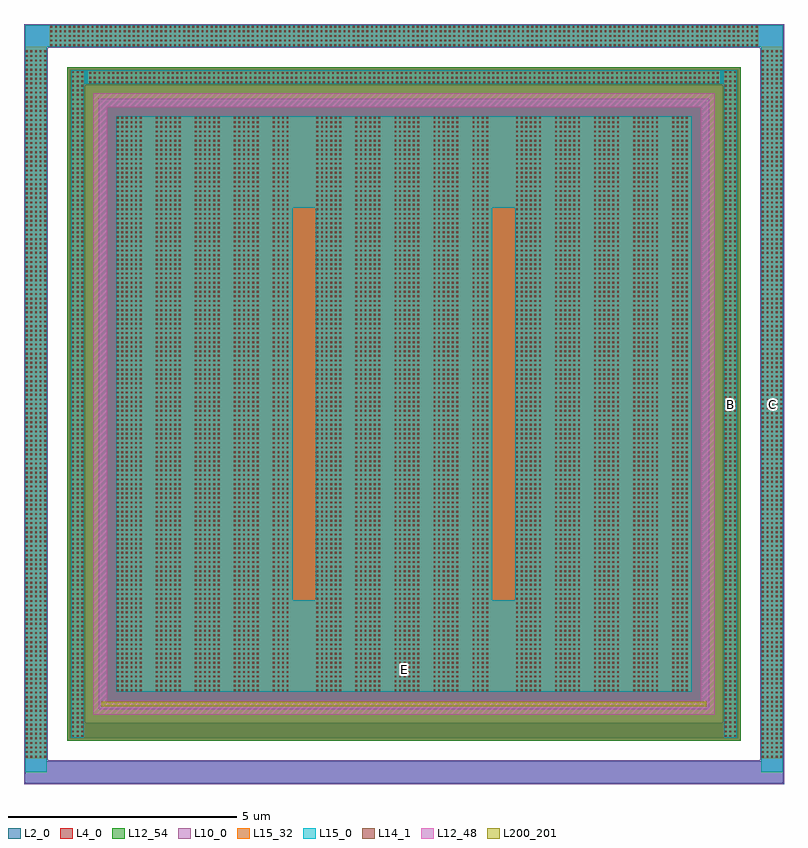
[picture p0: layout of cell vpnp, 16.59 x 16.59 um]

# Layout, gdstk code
import gdstk
lib = gdstk.Library(unit=1e-6, precision=1e-09)
def R(c, l, rs):  # rectangles x0, y0, x1, y1
    for r in rs: c.add(gdstk.rectangle(r[:2], r[2:], *l))
def A(c, l, x, y, w, h, nx, ny, dx, dy):  # array of equal rectangles
    R(c, l, [(x+i*dx, y+j*dy, x+i*dx+w, y+j*dy+h) for i in range(nx) for j in range(ny)])
L2_0 = (2, 0)
L4_0 = (4, 0)
L10_0 = (10, 0)
L12_48 = (12, 48)
L12_54 = (12, 54)
L14_1 = (14, 1)
L15_0 = (15, 0)
L15_32 = (15, 32)
L200_201 = (200, 201)

vpnp = lib.new_cell('vpnp')
R(vpnp, L2_0, [(-14.779,-6.809,1.773,-6.329), (-14.779,-6.329,-14.299,9.263), (1.293,-6.329,1.773,9.263), (-13.799,-5.829,0.793,-5.489), (-13.799,-5.489,-13.459,8.423), (0.453,-5.489,0.793,8.423), (-13.103,-5.133,0.097,8.067), (-13.799,8.423,0.793,8.763), (-14.779,9.263,1.773,9.743)])
R(vpnp, L4_0, [(-13.855,-5.885,0.849,8.819)])
R(vpnp, L10_0, [(-14.8,-6.83,1.794,-6.308), (-14.8,-6.308,-14.278,9.242), (1.272,-6.308,1.794,9.242), (-13.173,-5.203,0.167,8.137), (-14.8,9.242,1.794,9.764)])
R(vpnp, L12_48, [(-13.284,-5.314,0.278,-5.008), (-13.284,-5.008,-12.978,7.942), (-0.028,-5.008,0.278,7.942), (-13.284,7.942,0.278,8.248)])
R(vpnp, L12_54, [(-13.855,-5.885,0.849,8.819)])
A(vpnp, L14_1, -14.759, -6.253, 0.04, 0.04, 5, 155, 0.1, 0.1)
A(vpnp, L14_1, 1.313, -6.253, 0.04, 0.04, 5, 155, 0.1, 0.1)
A(vpnp, L14_1, -13.749, -5.803, 0.04, 0.04, 3, 146, 0.1, 0.1)
A(vpnp, L14_1, 0.503, -5.803, 0.04, 0.04, 3, 146, 0.1, 0.1)
A(vpnp, L14_1, -12.773, -4.803, 0.04, 0.04, 6, 126, 0.1, 0.1)
A(vpnp, L14_1, -11.921, -4.803, 0.04, 0.04, 6, 126, 0.1, 0.1)
A(vpnp, L14_1, -11.069, -4.803, 0.04, 0.04, 6, 126, 0.1, 0.1)
A(vpnp, L14_1, -10.217, -4.803, 0.04, 0.04, 6, 126, 0.1, 0.1)
A(vpnp, L14_1, -9.365, -4.803, 0.04, 0.04, 4, 126, 0.1, 0.1)
A(vpnp, L14_1, -8.414, -4.803, 0.04, 0.04, 6, 126, 0.1, 0.1)
A(vpnp, L14_1, -7.562, -4.803, 0.04, 0.04, 6, 126, 0.1, 0.1)
A(vpnp, L14_1, -6.71, -4.803, 0.04, 0.04, 6, 126, 0.1, 0.1)
A(vpnp, L14_1, -5.858, -4.803, 0.04, 0.04, 6, 126, 0.1, 0.1)
A(vpnp, L14_1, -5.006, -4.803, 0.04, 0.04, 4, 126, 0.1, 0.1)
A(vpnp, L14_1, -4.055, -4.803, 0.04, 0.04, 6, 126, 0.1, 0.1)
A(vpnp, L14_1, -3.203, -4.803, 0.04, 0.04, 6, 126, 0.1, 0.1)
A(vpnp, L14_1, -2.351, -4.803, 0.04, 0.04, 6, 126, 0.1, 0.1)
A(vpnp, L14_1, -1.499, -4.803, 0.04, 0.04, 6, 126, 0.1, 0.1)
A(vpnp, L14_1, -0.647, -4.803, 0.04, 0.04, 4, 126, 0.1, 0.1)
A(vpnp, L14_1, -13.373, 8.473, 0.04, 0.04, 138, 3, 0.1, 0.1)
A(vpnp, L14_1, -14.223, 9.283, 0.04, 0.04, 155, 5, 0.1, 0.1)
A(vpnp, L15_0, -12.791, -2.821, 3.858, 8.576, 3, 1, 4.359, 0)
R(vpnp, L15_0, [(-14.777,-6.569,-14.301,9.741), (1.295,-6.569,1.771,9.741), (-13.767,-5.821,-13.491,8.755), (0.485,-5.821,0.761,8.755), (-12.791,-4.821,-0.215,-2.821), (-12.791,5.755,-0.215,7.755), (-13.491,8.455,0.485,8.755), (-14.301,9.265,1.295,9.741)])
R(vpnp, L15_32, [(-14.777,-6.271,-14.301,9.265), (1.295,-6.271,1.771,9.265), (-13.767,-5.821,-13.491,8.755), (0.485,-5.821,0.761,8.755), (-12.791,-4.821,-0.215,7.755), (-13.391,8.455,0.385,8.731), (-14.241,9.265,1.235,9.741)])
R(vpnp, L200_201, [(-13.103,-5.133,0.097,-5.033)])
vpnp.add(gdstk.Label('E', (-6.503,-4.321), layer=15, texttype=20))
vpnp.add(gdstk.Label('B', (0.623,1.467), layer=15, texttype=20))
vpnp.add(gdstk.Label('C', (1.533,1.467), layer=15, texttype=20))

lib.write_gds('vpnp.gds')
